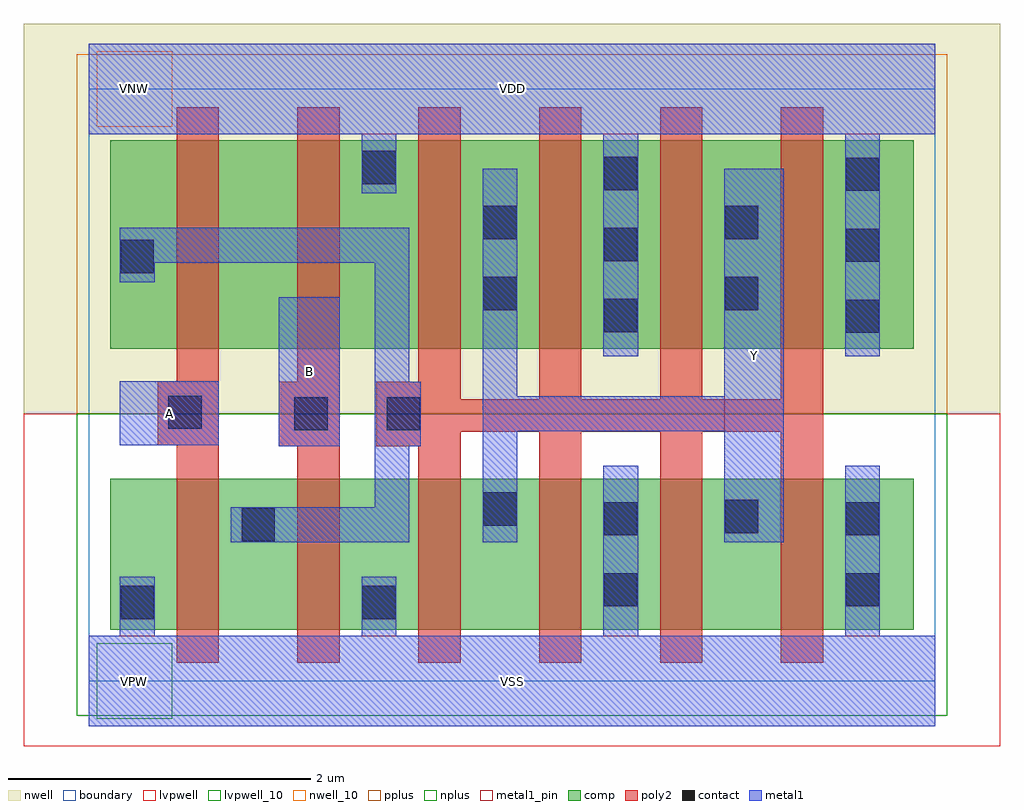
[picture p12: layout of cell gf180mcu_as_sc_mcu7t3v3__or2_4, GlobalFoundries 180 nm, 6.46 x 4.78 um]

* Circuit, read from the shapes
.subckt gf180mcu_as_sc_mcu7t3v3__or2_4 A B VDD VNW VSS Y
XM1 n1 A VSS VSUBS nfet_03v3 w=1u l=0.28u
XM2 VSS B n1 VSUBS nfet_03v3 w=1u l=0.28u
XM3 Y n1 VSS VSUBS nfet_03v3 w=1u l=0.28u m=4
XM4 n2 A n1 VNW pfet_03v3 w=1.38u l=0.28u
XM5 VDD B n2 VNW pfet_03v3 w=1.38u l=0.28u
XM6 Y n1 VDD VNW pfet_03v3 w=1.38u l=0.28u m=4
.ends

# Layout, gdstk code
import gdstk
lib = gdstk.Library(unit=1e-6, precision=1e-09)
def R(c, l, rs):  # rectangles x0, y0, x1, y1
    for r in rs: c.add(gdstk.rectangle(r[:2], r[2:], *l))
def A(c, l, x, y, w, h, nx, ny, dx, dy):  # array of equal rectangles
    R(c, l, [(x+i*dx, y+j*dy, x+i*dx+w, y+j*dy+h) for i in range(nx) for j in range(ny)])
boundary = (0, 0)
nwell = (21, 0)
nwell_10 = (21, 10)
comp = (22, 0)
poly2 = (30, 0)
pplus = (31, 0)
nplus = (32, 0)
contact = (33, 0)
metal1 = (34, 0)
metal1_pin = (34, 10)
lvpwell = (204, 0)
lvpwell_10 = (204, 10)

gf180mcu_as_sc_mcu7t3v3_ = lib.new_cell('gf180mcu_as_sc_mcu7t3v3__or2_4')
R(gf180mcu_as_sc_mcu7t3v3_, boundary, [(0,0,5.6,3.92)])
R(gf180mcu_as_sc_mcu7t3v3_, nwell, [(-0.43,1.77,6.03,4.35)])
R(gf180mcu_as_sc_mcu7t3v3_, nwell_10, [(0.05,3.67,0.55,4.17)])
R(gf180mcu_as_sc_mcu7t3v3_, comp, [(0.14,0.34,5.46,1.34), (0.14,2.2,5.46,3.58)])
A(gf180mcu_as_sc_mcu7t3v3_, poly2, 2.98, 0.12, 0.28, 1.53, 3, 1, 0.8, 0)
A(gf180mcu_as_sc_mcu7t3v3_, poly2, 2.98, 1.865, 0.28, 1.935, 3, 1, 0.8, 0)
R(gf180mcu_as_sc_mcu7t3v3_, poly2, [(0.58,0.12,0.86,1.56), (1.38,0.12,1.66,1.555), (2.18,0.12,2.46,1.555), (1.255,1.555,1.66,1.98), (1.9,1.555,2.46,1.65), (0.455,1.56,0.86,1.985), (1.9,1.65,4.86,1.865), (1.9,1.865,2.46,1.98), (1.38,1.98,1.66,3.8), (2.18,1.98,2.46,3.8), (0.58,1.985,0.86,3.8)])
R(gf180mcu_as_sc_mcu7t3v3_, pplus, [(-0.08,1.77,5.68,4.15)])
R(gf180mcu_as_sc_mcu7t3v3_, nplus, [(-0.08,-0.23,5.68,1.77)])
A(gf180mcu_as_sc_mcu7t3v3_, contact, 5.01, 2.305, 0.22, 0.22, 1, 3, 0, 0.47)
A(gf180mcu_as_sc_mcu7t3v3_, contact, 3.41, 2.31, 0.22, 0.22, 1, 3, 0, 0.47)
R(gf180mcu_as_sc_mcu7t3v3_, contact, [(0.21,0.41,0.43,0.63), (1.81,0.41,2.03,0.63), (3.41,0.495,3.63,0.715), (5.01,0.495,5.23,0.715), (1.01,0.925,1.23,1.145), (3.41,0.965,3.63,1.185), (5.01,0.965,5.23,1.185), (4.21,0.98,4.43,1.2), (2.61,1.03,2.83,1.25), (1.36,1.66,1.58,1.88), (1.97,1.66,2.19,1.88), (0.525,1.67,0.745,1.89), (2.61,2.455,2.83,2.675), (4.21,2.455,4.43,2.675), (0.21,2.7,0.43,2.92), (2.61,2.925,2.83,3.145), (4.21,2.925,4.43,3.145), (1.81,3.29,2.03,3.51)])
R(gf180mcu_as_sc_mcu7t3v3_, metal1, [(0,-0.3,5.6,0.3), (0.205,0.3,0.435,0.69), (1.805,0.3,2.035,0.69), (3.405,0.3,3.635,1.425), (5.005,0.3,5.235,1.425), (0.94,0.92,2.12,1.15), (2.605,0.92,2.835,1.655), (4.205,0.92,4.6,1.655), (1.89,1.15,2.12,1.555), (1.255,1.555,1.66,2.54), (1.89,1.555,2.195,1.98), (0.205,1.56,0.86,1.985), (2.605,1.655,4.6,1.885), (2.605,1.885,2.835,3.39), (4.205,1.885,4.6,3.39), (1.89,1.98,2.12,2.77), (3.405,2.15,3.635,3.62), (5.005,2.15,5.235,3.62), (0.205,2.64,0.435,2.77), (0.205,2.77,2.12,3), (1.805,3.23,2.035,3.62), (0,3.62,5.6,4.22)])
R(gf180mcu_as_sc_mcu7t3v3_, metal1_pin, [(0,-0.3,5.6,0.3), (4.205,0.92,4.6,3.39), (1.255,1.555,1.66,2.54), (0.205,1.56,0.86,1.985), (0,3.62,5.6,4.22)])
R(gf180mcu_as_sc_mcu7t3v3_, lvpwell, [(-0.43,-0.43,6.03,1.77)])
R(gf180mcu_as_sc_mcu7t3v3_, lvpwell_10, [(0.05,-0.25,0.55,0.25)])
gf180mcu_as_sc_mcu7t3v3_.add(gdstk.Label('VDD', (2.8,3.92), layer=34, texttype=10))
gf180mcu_as_sc_mcu7t3v3_.add(gdstk.Label('VSS', (2.8,0), layer=34, texttype=10))
gf180mcu_as_sc_mcu7t3v3_.add(gdstk.Label('B', (1.457,2.047), layer=34, texttype=10))
gf180mcu_as_sc_mcu7t3v3_.add(gdstk.Label('A', (0.532,1.772), layer=34, texttype=10))
gf180mcu_as_sc_mcu7t3v3_.add(gdstk.Label('Y', (4.402,2.155), layer=34, texttype=10))
gf180mcu_as_sc_mcu7t3v3_.add(gdstk.Label('VNW', (0.3,3.92), layer=21, texttype=10))
gf180mcu_as_sc_mcu7t3v3_.add(gdstk.Label('VPW', (0.3,0), layer=204, texttype=10))

lib.write_gds('gf180mcu_as_sc_mcu7t3v3__or2_4.gds')
